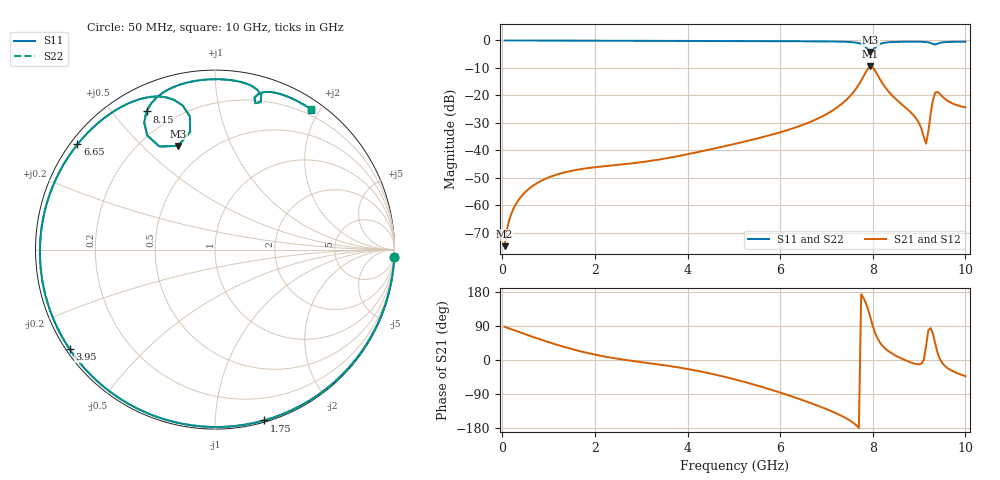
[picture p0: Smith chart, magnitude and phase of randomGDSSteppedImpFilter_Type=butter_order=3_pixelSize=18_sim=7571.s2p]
! freq	dB(S11)	phase(S11)	dB(S12)	phase(S12)
!  dB(S21)	phase(S21)	dB(S22)	phase(S22)
!S-par simulation data
#  GHz  S  DB  R 50
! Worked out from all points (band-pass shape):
!   200 points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, 50 MHz to 10 GHz, reference 50 ohm
!   highest |S21| = -9.46 dB at 7.95 GHz (marker M1); lowest = -74.8 dB at 50 MHz (marker M2)
!   |S21| within 3 dB of the highest: 7.82 GHz to 8.1 GHz (280.7 MHz wide, 3.53 % of centre)
!   lowest |S11| = -4.2 dB at 7.95 GHz (marker M3), VSWR 4.17, Z = 17.5 + j32.4 ohm
!   |S11| at or under -10 dB: nowhere
!   |S22| runs from -4.2 to 0.0 dB; largest |S21 - S12| = 0
!   S11 on the Smith chart (normalised r, x): 50 MHz: 0, -51; 1.75 GHz: 0.01, -1.33; 3.95 GHz: 0.01, -0.31; 6.65 GHz: 0.02, +0.34; 8.15 GHz: 0.10, +0.62; 10 GHz: 0.12, +1.90
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0.05  -0.00 -2.3  -74.80 87.4  -74.80 87.4  -0.00 -2.3
0.1  -0.00 -4.5  -68.79 85.4  -68.79 85.4  -0.00 -4.5
0.2  -0.01 -9.0  -62.80 81.0  -62.80 81.0  -0.01 -9.0
0.5  -0.03 -22.3  -55.07 67.8  -55.07 67.8  -0.03 -22.3
1  -0.05 -43.9  -49.82 47.1  -49.82 47.1  -0.05 -43.9
1.75  -0.09 -74.0  -46.65 21.2  -46.65 21.2  -0.09 -74.0
2.5  -0.11 -101.0  -45.23 3.0  -45.23 3.0  -0.11 -101.0
3.4  -0.14 -129.7  -43.27 -12.1  -43.27 -12.1  -0.14 -129.7
3.95  -0.16 -145.6  -41.54 -22.6  -41.54 -22.6  -0.16 -145.6
5.05  -0.21 -175.4  -37.50 -52.0  -37.50 -52.0  -0.21 -175.4
6.65  -0.31 142.6  -29.62 -113.2  -29.62 -113.2  -0.31 142.6
6.7  -0.32 141.2  -29.27 -115.4  -29.27 -115.4  -0.32 141.2
7.65  -0.82 110.4  -17.27 -173.0  -17.27 -173.0  -0.82 110.4
7.85  -2.42 100.7  -11.51 150.6  -11.51 150.6  -2.42 100.7
7.95  -4.25 109.5  -9.46 112.0  -9.46 112.0  -4.24 109.5
8.15  -1.32 116.4  -13.94 46.9  -13.94 46.9  -1.32 116.4
8.35  -0.64 106.4  -18.75 22.4  -18.75 22.4  -0.64 106.4
8.95  -0.46 84.7  -28.69 -11.1  -28.69 -11.1  -0.46 84.8
9.15  -0.59 77.3  -37.56 35.7  -37.56 35.7  -0.59 77.3
9.3  -1.30 72.8  -21.61 69.1  -21.61 69.1  -1.30 72.8
9.35  -1.45 74.6  -18.93 42.7  -18.93 42.7  -1.45 74.6
10  -0.47 55.5  -24.32 -42.7  -24.32 -42.7  -0.47 55.5
